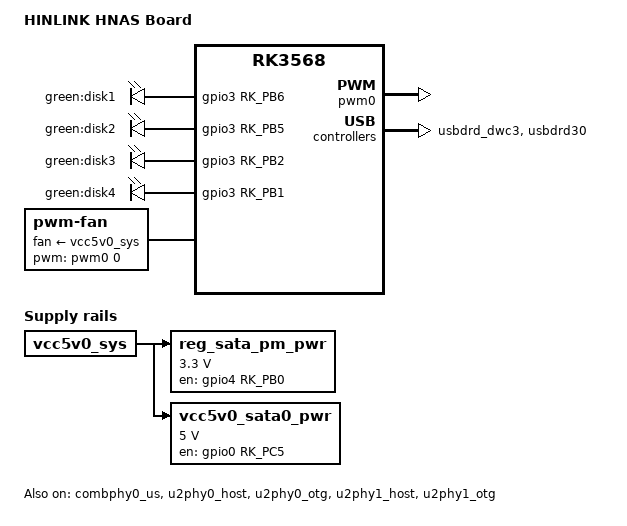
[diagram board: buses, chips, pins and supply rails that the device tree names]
// SPDX-License-Identifier: (GPL-2.0+ OR MIT)
/*
* Copyright (c) 2020 Rockchip Electronics Co., Ltd.
*/

/dts-v1/;

#include "rk3568-hinlink.dtsi"
#include <dt-bindings/leds/common.h>

/ {
	model = "HINLINK HNAS Board";
	compatible = "hinlink,hnas", "rockchip,rk3568";

	reg-sata-pm-pwr {
		compatible = "regulator-fixed";
		regulator-name = "reg_sata_pm_pwr";
		regulator-min-microvolt = <3300000>;
		regulator-max-microvolt = <3300000>;
		regulator-always-on;
		regulator-boot-on;
		enable-active-high;
		gpio = <&gpio4 RK_PB0 GPIO_ACTIVE_HIGH>;
		pinctrl-names = "default";
		pinctrl-0 = <&sata_pm_pwr>, <&sata_pm_reset_low>;
		vin-supply = <&vcc5v0_sys>;
	};

	reg-sata-pm-reset {
		compatible = "regulator-fixed";
		regulator-name = "reg_sata_pm_reset";
		regulator-always-on;
		regulator-boot-on;
		startup-delay-us = <12000>;
		enable-active-high;
		gpio = <&gpio4 RK_PA7 GPIO_ACTIVE_HIGH>;
		pinctrl-names = "default";
		pinctrl-0 = <&sata_pm_reset>;
		/**
		 * kernel boot slow with log
		 * `ata1: link is slow to respond, please be patient`
		 * disable it now, and enable it after system startup
		 */
		status = "disabled";
	};

	vcc5v0_sata0_pwr: vcc5v0-sata0-pwr {
		compatible = "regulator-fixed";
		regulator-name = "vcc5v0_sata0_pwr";
		regulator-min-microvolt = <5000000>;
		regulator-max-microvolt = <5000000>;
		enable-active-high;
		gpio = <&gpio0 RK_PC5 GPIO_ACTIVE_HIGH>;
		pinctrl-names = "default";
		pinctrl-0 = <&vcc5v0_sata0_pwr_en>;
		vin-supply = <&vcc5v0_sys>;
	};

	disk-leds {
		compatible = "gpio-leds";
		pinctrl-names = "default";
		pinctrl-0 =
			<&led_disk1_en>,
			<&led_disk2_en>,
			<&led_disk3_en>,
			<&led_disk4_en>;

		led-disk1 {
			function = LED_FUNCTION_DISK_ACTIVITY;
			gpios = <&gpio3 RK_PB6 GPIO_ACTIVE_HIGH>;
			label = "green:disk1";
			linux,default-trigger = "ata1p3";
		};
		led-disk2 {
			function = LED_FUNCTION_DISK_ACTIVITY;
			gpios = <&gpio3 RK_PB5 GPIO_ACTIVE_HIGH>;
			label = "green:disk2";
			linux,default-trigger = "ata1p0";
		};
		led-disk3 {
			function = LED_FUNCTION_DISK_ACTIVITY;
			gpios = <&gpio3 RK_PB2 GPIO_ACTIVE_HIGH>;
			label = "green:disk3";
			linux,default-trigger = "ata1p2";
		};
		led-disk4 {
			function = LED_FUNCTION_DISK_ACTIVITY;
			gpios = <&gpio3 RK_PB1 GPIO_ACTIVE_HIGH>;
			label = "green:disk4";
			linux,default-trigger = "ata1p1";
		};
	};

	fan: pwm-fan {
		compatible = "pwm-fan";
		cooling-levels = <0 0x55 0x66 0x77 0x88 0x99 0xbb 0xcc 0xff>;
		#cooling-cells = <2>;
		fan-supply = <&vcc5v0_sys>;
		pwms = <&pwm0 0 50000 0>;
	};
};

&gmac0 {
	status = "disabled";
};

&gmac1 {
	status = "disabled";
};

&pwm0 {
	status = "okay";
};

&i2c5 {
	status = "disabled";
};

&combphy0_us {
	// pinctrl-names = "default";
	// pinctrl-0 = <&sata_pm_reset_high>;
	status = "okay";
};

&sata0 {
	/**
	 * Uncomment this line to enable FBS
	 */
	compatible = "rockchip,rk-ahci", "snps,dwc-ahci"; 
	target-supply = <&vcc5v0_sata0_pwr>;
};

&u2phy0_host {
	phy-supply = <&vcc5v0_sys>;
	status = "okay";
};

&u2phy0_otg {
	vbus-supply = <&vcc5v0_sys>;
	rockchip,vbus-always-on;
	status = "okay";
};

&u2phy1_host {
	phy-supply = <&vcc5v0_sys>;
	status = "okay";
};

&u2phy1_otg {
	phy-supply = <&vcc5v0_sys>;
	status = "okay";
};

&usbdrd_dwc3 {
	status = "okay";
};

&usbdrd30 {
	status = "okay";
};

&soc_thermal {
	trips {

		cpu_warm: cpu_warm {
			temperature = <65000>;
			hysteresis = <5000>;
			type = "active";
		};

		cpu_hot: cpu_hot {
			temperature = <85000>;
			hysteresis = <5000>;
			type = "active";
		};

		cpu_hall: cpu_hall {
			temperature = <95000>;
			hysteresis = <5000>;
			type = "active";
		};

		cpu_idle: cpu_idle {
			temperature = <45000>;
			hysteresis = <3000>;
			type = "passive";
		};
	};

	cooling-maps {
		map2 {
			trip = <&cpu_idle>;
			cooling-device = <&fan THERMAL_NO_LIMIT 2>;
		};

		map3 {
			trip = <&cpu_warm>;
			cooling-device = <&fan 2 4>;
		};

		map4 {
			trip = <&cpu_hot>;
			cooling-device = <&fan 4 6>;
		};

		map5 {
			trip = <&cpu_hall>;
			cooling-device = <&fan 6 THERMAL_NO_LIMIT>;
		};

	};
};

&pinctrl {
	sata {
		sata_pm_pwr: sata-pm-pwr {
			rockchip,pins = <4 RK_PB0 RK_FUNC_GPIO &pcfg_pull_none>;
		};
		sata_pm_reset: sata-pm-reset {
			rockchip,pins = <4 RK_PA7 RK_FUNC_GPIO &pcfg_pull_none>;
		};
		sata_pm_reset_low: sata-pm-reset-low {
			rockchip,pins = <4 RK_PA7 RK_FUNC_GPIO &pcfg_output_low>;
		};
		sata_pm_reset_high: sata-pm-reset-high {
			rockchip,pins = <4 RK_PA7 RK_FUNC_GPIO &pcfg_output_high>;
		};
		vcc5v0_sata0_pwr_en: vcc5v0-sata0-pwr-en {
			rockchip,pins = <0 RK_PC5 RK_FUNC_GPIO &pcfg_pull_none>;
		};
	};
	leds {
		led_disk1_en: led-disk1-en {
			rockchip,pins = <3 RK_PB6 RK_FUNC_GPIO &pcfg_pull_none>;
		};
		led_disk2_en: led-disk2-en {
			rockchip,pins = <3 RK_PB5 RK_FUNC_GPIO &pcfg_pull_none>;
		};
		led_disk3_en: led-disk3-en {
			rockchip,pins = <3 RK_PB2 RK_FUNC_GPIO &pcfg_pull_none>;
		};
		led_disk4_en: led-disk4-en {
			rockchip,pins = <3 RK_PB1 RK_FUNC_GPIO &pcfg_pull_none>;
		};
	};
};
